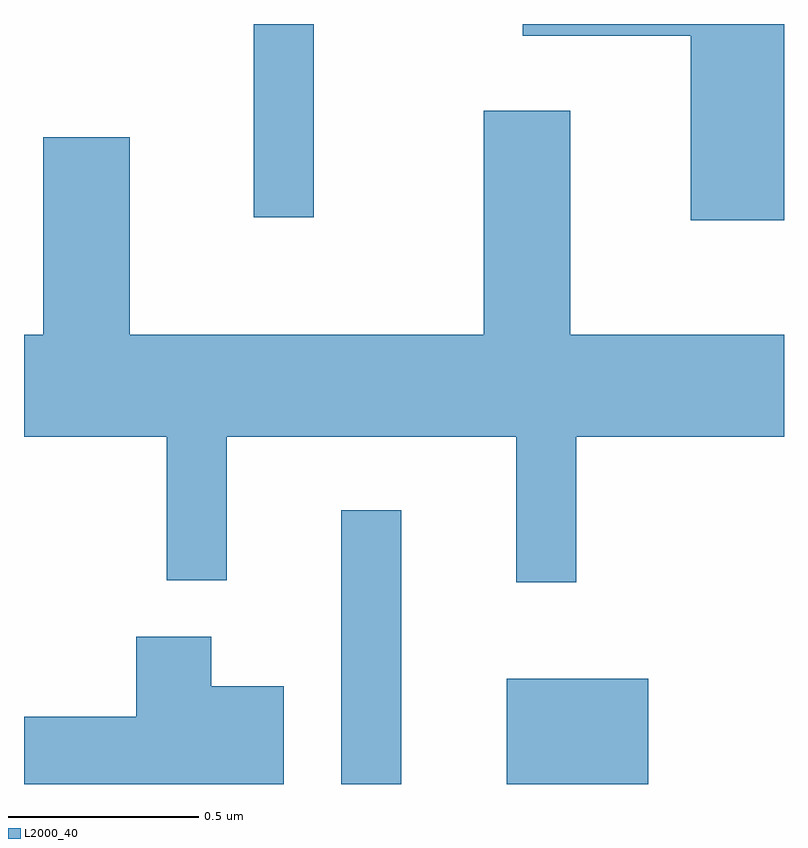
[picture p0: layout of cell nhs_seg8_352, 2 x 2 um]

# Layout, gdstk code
import gdstk
lib = gdstk.Library(unit=1e-6, precision=1e-09)
def R(c, l, rs):  # rectangles x0, y0, x1, y1
    for r in rs: c.add(gdstk.rectangle(r[:2], r[2:], *l))
def P(c, l, *ps):  # polygons
    for p in ps: c.add(gdstk.Polygon(p, *l))
L2000_40 = (2000, 40)

nhs_seg8_352 = lib.new_cell('nhs_seg8_352')
R(nhs_seg8_352, L2000_40, [(188.446,1884.342,188.604,1885.063), (188.881,1884.342,189.254,1884.619), (188.216,1885.833,188.374,1886.342)])
P(nhs_seg8_352, L2000_40, [(189.611,1886.342),(188.923,1886.342),(188.923,1886.311),(189.366,1886.311),(189.366,1885.826),(189.611,1885.826)],
  [(189.064,1885.256),(189.611,1885.256),(189.611,1885.524),(189.049,1885.524),(189.049,1886.114),(188.821,1886.114),(188.821,1885.524),(187.889,1885.524),(187.889,1886.044),(187.661,1886.044),(187.661,1885.524),(187.611,1885.524),(187.611,1885.256),(187.986,1885.256),(187.986,1884.878),(188.144,1884.878),(188.144,1885.256),(188.906,1885.256),(188.906,1884.873),(189.064,1884.873)],
  [(188.294,1884.599),(188.104,1884.599),(188.104,1884.729),(187.906,1884.729),(187.906,1884.519),(187.611,1884.519),(187.611,1884.342),(188.294,1884.342)])

lib.write_gds('nhs_seg8_352.gds')
